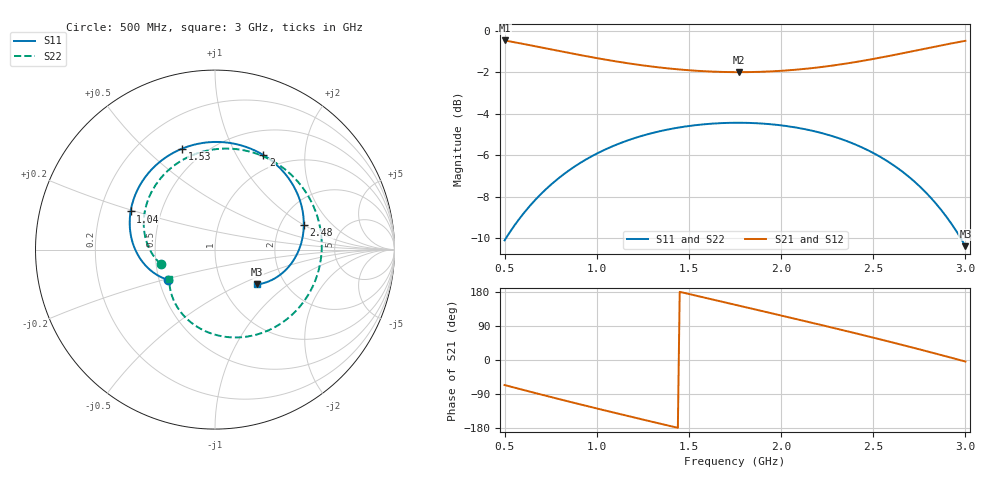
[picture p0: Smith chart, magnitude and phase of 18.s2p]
!freq-unit  param-type  data-format  keyword  impedance-ohms
# GHZ  S  RI  R  50
!Freq  ReS11  ImS11  ReS21  ImS21  ReS12  ImS12  ReS22  ImS22
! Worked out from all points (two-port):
!   251 points, 500 MHz to 3 GHz, reference 50 ohm
!   highest |S21| = -0.47 dB at 500 MHz (marker M1); lowest = -2.0 dB at 1.77 GHz (marker M2)
!   |S21| within 3 dB of the highest: start of sweep to end of sweep
!   lowest |S11| = -10.4 dB at 3 GHz (marker M3), VSWR 1.87, Z = 72.4 - j31 ohm
!   |S11| at or under -10 dB: start of sweep to 507.2 MHz; 2.975 GHz to end of sweep
!   |S22| runs from -10.4 to -4.4 dB; largest |S21 - S12| = 0
!   S11 on the Smith chart (normalised r, x): 500 MHz: 0.56, -0.21; 1.04 GHz: 0.33, +0.19; 1.53 GHz: 0.38, +0.66; 2 GHz: 0.80, +1.30; 2.48 GHz: 2.69, +0.99; 3 GHz: 1.45, -0.62
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0.5  -0.2637 -0.1677  0.3837 -0.8665  0.3837 -0.8665  -0.3015 -0.0814
0.6  -0.3365 -0.1325  0.1797 -0.9123  0.1797 -0.9123  -0.3613 -0.00382
0.7  -0.3982 -0.0756  -0.0222 -0.9111  -0.0222 -0.9111  -0.3935 0.096
0.81  -0.4472 0.00645  -0.2301 -0.8611  -0.2301 -0.8611  -0.39 0.2183
0.92  -0.4723 0.1019  -0.4134 -0.768  -0.4134 -0.768  -0.344 0.3386
1.04  -0.4702 0.2124  -0.5775 -0.6278  -0.5775 -0.6278  -0.2497 0.4509
1.19  -0.425 0.3466  -0.7224 -0.4134  -0.7224 -0.4134  -0.0826 0.5415
1.34  -0.3378 0.4621  -0.7966 -0.1758  -0.7966 -0.1758  0.1126 0.5605
1.53  -0.1817 0.5632  -0.791 0.1289  -0.791 0.1289  0.351 0.4755
1.64  -0.0766 0.5929  -0.7401 0.2951  -0.7401 0.2951  0.463 0.3769
1.75  0.033 0.5993  -0.6574 0.4467  -0.6574 0.4467  0.5442 0.2511
1.77  0.053 0.5979  -0.6392 0.4723  -0.6392 0.4723  0.5552 0.226
1.89  0.1704 0.573  -0.5112 0.6105  -0.5112 0.6105  0.5932 0.0673
2  0.2699 0.5265  -0.3689 0.7106  -0.3689 0.7106  0.5851 -0.0816
2.17  0.3964 0.4152  -0.1122 0.8052  -0.1122 0.8052  0.4946 -0.2897
2.33  0.4719 0.2778  0.1543 0.8161  0.1543 0.8161  0.3385 -0.4293
2.48  0.4947 0.1356  0.407 0.7485  0.407 0.7485  0.1567 -0.4875
2.59  0.4795 0.0335  0.5809 0.648  0.5809 0.648  0.0212 -0.4793
2.7  0.4383 -0.0582  0.7334 0.5044  0.7334 0.5044  -0.0997 -0.4299
2.81  0.3746 -0.1312  0.8524 0.3208  0.8524 0.3208  -0.1921 -0.3464
2.91  0.3025 -0.1757  0.9211 0.1251  0.9211 0.1251  -0.2417 -0.2518
3  0.2319 -0.1944  0.9433 -0.0673  0.9433 -0.0673  -0.2546 -0.1622
